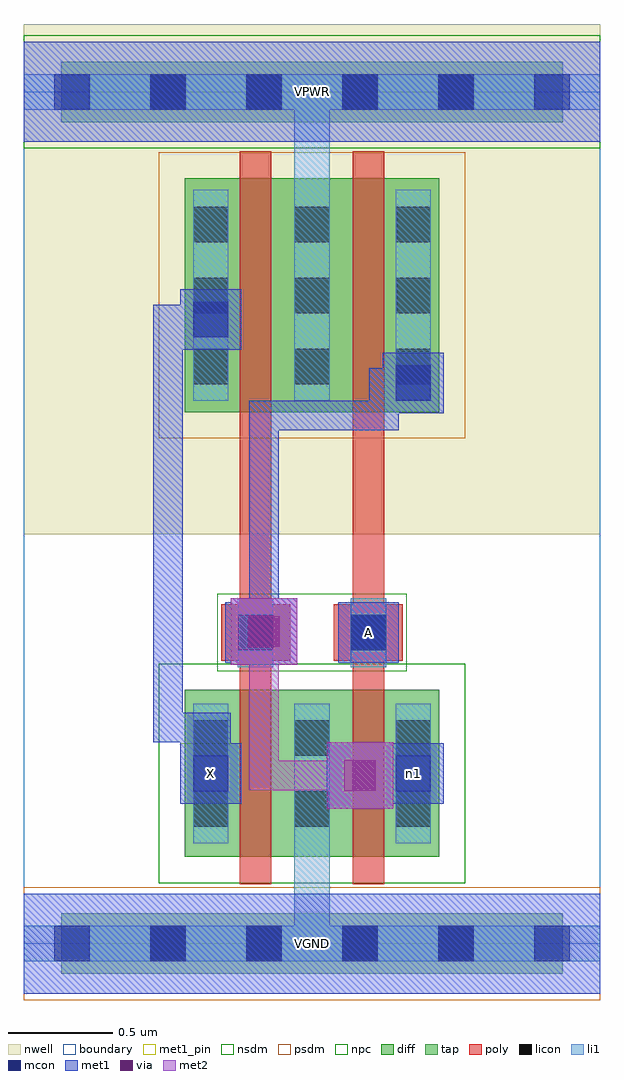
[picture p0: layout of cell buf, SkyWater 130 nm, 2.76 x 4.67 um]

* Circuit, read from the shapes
.subckt buf A VGND VPWR X n1
XM1 VGND n1 X VGND sky130_fd_pr__nfet_01v8 w=0.8 l=0.15
XM2 n1 A VGND VGND sky130_fd_pr__nfet_01v8 w=0.8 l=0.15
XM3 VPWR n1 X VPWR sky130_fd_pr__pfet_01v8 w=1.12 l=0.15
XM4 n1 A VPWR VPWR sky130_fd_pr__pfet_01v8 w=1.12 l=0.15
.ends

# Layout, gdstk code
import gdstk
lib = gdstk.Library(unit=1e-6, precision=1e-09)
def R(c, l, rs):  # rectangles x0, y0, x1, y1
    for r in rs: c.add(gdstk.rectangle(r[:2], r[2:], *l))
def A(c, l, x, y, w, h, nx, ny, dx, dy):  # array of equal rectangles
    R(c, l, [(x+i*dx, y+j*dy, x+i*dx+w, y+j*dy+h) for i in range(nx) for j in range(ny)])
nwell = (64, 20)
diff = (65, 20)
tap = (65, 44)
poly = (66, 20)
licon = (66, 44)
li1 = (67, 20)
mcon = (67, 44)
met1_pin = (68, 16)
met1 = (68, 20)
via = (68, 44)
met2 = (69, 20)
nsdm = (93, 44)
psdm = (94, 20)
npc = (95, 20)
boundary = (235, 4)

buf = lib.new_cell('buf')
R(buf, nwell, [(0,1.96,2.76,4.405)])
R(buf, diff, [(0.77,0.415,1.99,1.215), (0.77,2.545,1.99,3.665)])
R(buf, tap, [(0.18,-0.145,2.58,0.145), (0.18,3.935,2.58,4.225)])
R(buf, poly, [(1.035,0.285,1.185,3.795), (1.575,0.285,1.725,3.795), (0.945,1.355,1.275,1.625), (1.485,1.355,1.815,1.625)])
A(buf, licon, 0.605, -0.085, 0.17, 0.17, 4, 2, 0.46, 4.08)
A(buf, licon, 0.81, 0.56, 0.17, 0.17, 3, 2, 0.485, 0.34)
A(buf, licon, 0.81, 2.68, 0.17, 0.17, 3, 3, 0.485, 0.34)
R(buf, licon, [(1.025,1.405,1.195,1.575), (1.565,1.405,1.735,1.575)])
A(buf, li1, 0.81, 0.48, 0.17, 0.67, 3, 1, 0.485, 0)
A(buf, li1, 0.81, 2.6, 0.17, 1.01, 3, 1, 0.485, 0)
R(buf, li1, [(0,-0.085,2.76,0.085), (1.295,-0.085,1.465,1.15), (1.025,1.325,1.195,1.655), (1.565,1.325,1.735,1.655), (1.295,2.6,1.465,4.165), (0,3.995,2.76,4.165)])
A(buf, mcon, 0.145, -0.085, 0.17, 0.17, 6, 2, 0.46, 4.08)
R(buf, mcon, [(0.81,0.73,0.98,0.9), (1.78,0.73,1.95,0.9), (1.025,1.405,1.195,1.575), (1.565,1.405,1.735,1.575), (1.78,2.6,1.95,2.77), (0.81,2.905,0.98,3.075)])
R(buf, met1_pin, [(0,-0.24,2.76,0.24), (0.75,0.67,1.04,0.96), (1.505,1.345,1.795,1.635), (0,3.84,2.76,4.32)])
R(buf, met1, [(0,-0.24,2.76,0.24), (1.45,0.645,1.77,0.965), (0.75,0.67,1.04,0.96), (1.72,0.67,2.01,0.96), (0.85,0.735,0.99,0.875), (0.85,0.735,0.99,1.105), (1.54,0.735,1.91,0.875), (1.77,0.735,1.91,0.875), (0.75,0.96,0.99,0.965), (0.75,0.96,0.76,0.965), (0.62,0.965,0.99,1.105), (0.62,0.965,0.76,3.06), (0.99,1.335,1.31,1.655), (0.965,1.345,1.255,1.635), (1.505,1.345,1.795,1.635), (1.08,1.425,1.22,1.565), (1.08,1.425,1.22,2.6), (1.08,2.46,1.795,2.6), (1.655,2.46,1.795,2.755), (1.72,2.54,2.01,2.83), (1.655,2.615,1.935,2.755), (0.75,2.845,1.04,3.135), (0.62,2.92,0.875,3.06), (0.735,2.92,0.965,3.06), (0,3.84,2.76,4.32)])
R(buf, via, [(1.535,0.73,1.685,0.88), (1.075,1.42,1.225,1.57)])
R(buf, met2, [(1.45,0.645,1.77,0.965), (1.08,0.735,1.68,0.875), (1.08,0.735,1.22,1.565), (0.99,1.335,1.31,1.655)])
R(buf, nsdm, [(0.645,0.29,2.115,1.34), (0,3.81,2.76,4.35)])
R(buf, psdm, [(0,-0.27,2.76,0.27), (0.645,2.42,2.115,3.79)])
R(buf, npc, [(0.925,1.305,1.835,1.675)])
R(buf, boundary, [(0,0,2.76,4.08)])
buf.add(gdstk.Label('n1', (1.865,0.815), layer=67, texttype=5))
buf.add(gdstk.Label('A', (1.65,1.49), layer=68, texttype=5))
buf.add(gdstk.Label('X', (0.895,0.815), layer=68, texttype=5))
buf.add(gdstk.Label('VPWR', (1.38,4.08), layer=68, texttype=5))
buf.add(gdstk.Label('VGND', (1.38,0), layer=68, texttype=5))
buf.add(gdstk.Label('A', (1.65,1.49), layer=68, texttype=16))
buf.add(gdstk.Label('X', (0.895,0.815), layer=68, texttype=16))
buf.add(gdstk.Label('VPWR', (1.38,4.08), layer=68, texttype=16))
buf.add(gdstk.Label('VGND', (1.38,0), layer=68, texttype=16))

lib.write_gds('buf.gds')
